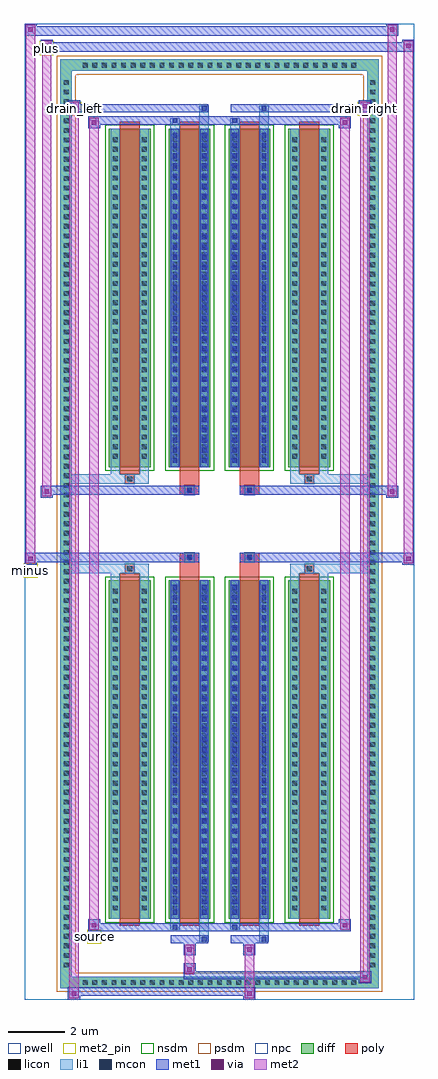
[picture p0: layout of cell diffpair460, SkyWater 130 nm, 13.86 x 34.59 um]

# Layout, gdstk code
import gdstk
lib = gdstk.Library(unit=1e-6, precision=5e-09)
def R(c, l, rs):  # rectangles x0, y0, x1, y1
    for r in rs: c.add(gdstk.rectangle(r[:2], r[2:], *l))
def A(c, l, x, y, w, h, nx, ny, dx, dy):  # array of equal rectangles
    R(c, l, [(x+i*dx, y+j*dy, x+i*dx+w, y+j*dy+h) for i in range(nx) for j in range(ny)])
def P(c, l, *ps):  # polygons
    for p in ps: c.add(gdstk.Polygon(p, *l))
pwell = (64, 44)
diff = (65, 20)
poly = (66, 20)
licon = (66, 44)
li1 = (67, 20)
mcon = (67, 44)
met1 = (68, 20)
via = (68, 44)
met2_pin = (69, 16)
met2 = (69, 20)
nsdm = (93, 44)
psdm = (94, 20)
npc = (95, 20)

diffpair460 = lib.new_cell('diffpair460')
R(diffpair460, pwell, [(-6.91,-16.86,6.91,17.73), (-4.23,-15.05,-0.01,-0.825), (0.01,-15.05,4.23,-0.825), (-4.23,0.825,-0.01,15.05), (0.01,0.825,4.23,15.05)])
A(diffpair460, diff, -4.965, -16.46, 0.41, 0.41, 29, 2, 0.34, 32.51)
A(diffpair460, diff, -5.64, -15.845, 0.41, 0.41, 1, 93, 0, 0.34)
A(diffpair460, diff, 5.23, -15.845, 0.41, 0.41, 1, 93, 0, 0.34)
A(diffpair460, diff, -3.92, -14.005, 1.48, 12, 4, 2, 2.12, 16.01)
R(diffpair460, diff, [(-4.965,-16.46,4.965,-16.05), (-5.64,-15.845,-5.23,15.845), (5.23,-15.845,5.64,15.845), (-4.965,16.05,4.965,16.46)])
P(diffpair460, diff, [(5.64,16.46),(-5.64,16.46),(-5.64,-16.05),(-5.23,-16.05),(-5.23,16.05),(5.23,16.05),(5.23,-16.05),(-5.23,-16.05),(-5.64,-16.05),(-5.64,-16.46),(5.64,-16.46)])
A(diffpair460, poly, -3.53, -14.255, 0.7, 12.5, 4, 2, 2.12, 16.01)
R(diffpair460, poly, [(-3.345,-1.755,-3.015,-1.425), (-3.345,-1.755,-3.015,-1.425), (-1.41,-1.755,-0.71,-1.355), (0.71,-1.755,1.41,-1.355), (3.015,-1.755,3.345,-1.425), (3.015,-1.755,3.345,-1.425), (-1.41,-1.355,-0.71,-1.025), (-1.225,-1.355,-0.895,-1.025), (0.71,-1.355,1.41,-1.025), (0.895,-1.355,1.225,-1.025), (-1.41,1.025,-0.71,1.355), (-1.225,1.025,-0.895,1.355), (0.71,1.025,1.41,1.355), (0.895,1.025,1.225,1.355), (-1.41,1.355,-0.71,1.755), (0.71,1.355,1.41,1.755), (-3.345,1.425,-3.015,1.755), (-3.345,1.425,-3.015,1.755), (3.015,1.425,3.345,1.755), (3.015,1.425,3.345,1.755)])
A(diffpair460, licon, -4.845, -16.34, 0.17, 0.17, 29, 2, 0.34, 32.51)
A(diffpair460, licon, -5.52, -15.725, 0.17, 0.17, 1, 93, 0, 0.34)
A(diffpair460, licon, 5.35, -15.725, 0.17, 0.17, 1, 93, 0, 0.34)
A(diffpair460, licon, -3.78, -13.7, 0.17, 0.17, 1, 34, 0, 0.34)
A(diffpair460, licon, -2.75, -13.7, 0.17, 0.17, 1, 34, 0, 0.34)
A(diffpair460, licon, -1.66, -13.7, 0.17, 0.17, 1, 34, 0, 0.34)
A(diffpair460, licon, -0.63, -13.7, 0.17, 0.17, 1, 34, 0, 0.34)
A(diffpair460, licon, 0.46, -13.7, 0.17, 0.17, 1, 34, 0, 0.34)
A(diffpair460, licon, 1.49, -13.7, 0.17, 0.17, 1, 34, 0, 0.34)
A(diffpair460, licon, 2.58, -13.7, 0.17, 0.17, 1, 34, 0, 0.34)
A(diffpair460, licon, 3.61, -13.7, 0.17, 0.17, 1, 34, 0, 0.34)
A(diffpair460, licon, -3.78, 2.31, 0.17, 0.17, 1, 34, 0, 0.34)
A(diffpair460, licon, -2.75, 2.31, 0.17, 0.17, 1, 34, 0, 0.34)
A(diffpair460, licon, -1.66, 2.31, 0.17, 0.17, 1, 34, 0, 0.34)
A(diffpair460, licon, -0.63, 2.31, 0.17, 0.17, 1, 34, 0, 0.34)
A(diffpair460, licon, 0.46, 2.31, 0.17, 0.17, 1, 34, 0, 0.34)
A(diffpair460, licon, 1.49, 2.31, 0.17, 0.17, 1, 34, 0, 0.34)
A(diffpair460, licon, 2.58, 2.31, 0.17, 0.17, 1, 34, 0, 0.34)
A(diffpair460, licon, 3.61, 2.31, 0.17, 0.17, 1, 34, 0, 0.34)
R(diffpair460, licon, [(-3.265,-1.675,-3.095,-1.505), (3.095,-1.675,3.265,-1.505), (-1.145,-1.275,-0.975,-1.105), (0.975,-1.275,1.145,-1.105), (-1.145,1.105,-0.975,1.275), (0.975,1.105,1.145,1.275), (-3.265,1.505,-3.095,1.675), (3.095,1.505,3.265,1.675)])
A(diffpair460, li1, -4.925, -16.42, 0.33, 0.33, 29, 2, 0.34, 32.51)
A(diffpair460, li1, -5.6, -15.805, 0.33, 0.33, 1, 93, 0, 0.34)
A(diffpair460, li1, 5.27, -15.805, 0.33, 0.33, 1, 93, 0, 0.34)
A(diffpair460, li1, -1.66, -13.85, 0.17, 0.17, 1, 33, 0, 0.36)
A(diffpair460, li1, -0.63, -13.85, 0.17, 0.17, 1, 33, 0, 0.36)
A(diffpair460, li1, 0.46, -13.85, 0.17, 0.17, 1, 33, 0, 0.36)
A(diffpair460, li1, 1.49, -13.85, 0.17, 0.17, 1, 33, 0, 0.36)
A(diffpair460, li1, -3.86, -13.78, 0.33, 0.33, 1, 34, 0, 0.34)
A(diffpair460, li1, -2.83, -13.78, 0.33, 0.33, 1, 34, 0, 0.34)
A(diffpair460, li1, -1.74, -13.78, 0.33, 0.33, 1, 34, 0, 0.34)
A(diffpair460, li1, -0.71, -13.78, 0.33, 0.33, 1, 34, 0, 0.34)
A(diffpair460, li1, 0.38, -13.78, 0.33, 0.33, 1, 34, 0, 0.34)
A(diffpair460, li1, 1.41, -13.78, 0.33, 0.33, 1, 34, 0, 0.34)
A(diffpair460, li1, 2.5, -13.78, 0.33, 0.33, 1, 34, 0, 0.34)
A(diffpair460, li1, 3.53, -13.78, 0.33, 0.33, 1, 34, 0, 0.34)
A(diffpair460, li1, -1.66, 2.16, 0.17, 0.17, 1, 33, 0, 0.36)
A(diffpair460, li1, -0.63, 2.16, 0.17, 0.17, 1, 33, 0, 0.36)
A(diffpair460, li1, 0.46, 2.16, 0.17, 0.17, 1, 33, 0, 0.36)
A(diffpair460, li1, 1.49, 2.16, 0.17, 0.17, 1, 33, 0, 0.36)
A(diffpair460, li1, -3.86, 2.23, 0.33, 0.33, 1, 34, 0, 0.34)
A(diffpair460, li1, -2.83, 2.23, 0.33, 0.33, 1, 34, 0, 0.34)
A(diffpair460, li1, -1.74, 2.23, 0.33, 0.33, 1, 34, 0, 0.34)
A(diffpair460, li1, -0.71, 2.23, 0.33, 0.33, 1, 34, 0, 0.34)
A(diffpair460, li1, 0.38, 2.23, 0.33, 0.33, 1, 34, 0, 0.34)
A(diffpair460, li1, 1.41, 2.23, 0.33, 0.33, 1, 34, 0, 0.34)
A(diffpair460, li1, 2.5, 2.23, 0.33, 0.33, 1, 34, 0, 0.34)
A(diffpair460, li1, 3.53, 2.23, 0.33, 0.33, 1, 34, 0, 0.34)
R(diffpair460, li1, [(-5.64,-16.46,-5.23,-16.05), (-5.64,-16.46,-5.23,-16.05), (-5.23,-16.46,5.23,-16.05), (5.23,-16.46,5.64,-16.05), (5.23,-16.46,5.64,-16.05), (-5.64,-16.05,-5.23,16.05), (5.23,-16.05,5.64,16.05), (-0.71,-14.81,-0.38,-14.005), (-0.63,-14.81,-0.46,-14.64), (1.41,-14.81,1.74,-14.005), (1.49,-14.81,1.66,-14.64), (-1.74,-14.38,-1.41,-14.005), (-1.66,-14.38,-1.49,-14.21), (0.38,-14.38,0.71,-14.005), (0.46,-14.38,0.63,-14.21), (-3.86,-14.005,-3.53,-2.005), (-2.83,-14.005,-2.5,-2.005), (-1.74,-14.005,-1.41,-2.005), (-0.71,-14.005,-0.38,-2.005), (0.38,-14.005,0.71,-2.005), (1.41,-14.005,1.74,-2.005), (2.5,-14.005,2.83,-2.005), (3.53,-14.005,3.86,-2.005), (-1.66,-13.85,-1.49,-2.16), (-0.63,-13.85,-0.46,-2.16), (0.46,-13.85,0.63,-2.16), (1.49,-13.85,1.66,-2.16), (-3.86,-2.005,-3.53,-1.425), (-2.83,-2.005,-2.5,-1.425), (2.5,-2.005,2.83,-1.425), (3.53,-2.005,3.86,-1.425), (-5.64,-1.755,-3.345,-1.425), (-3.86,-1.755,-3.345,-1.425), (-3.345,-1.755,-3.015,-1.425), (-3.015,-1.755,-2.5,-1.425), (2.5,-1.755,3.015,-1.425), (3.015,-1.755,3.345,-1.425), (3.015,-1.755,5.64,-1.425), (3.345,-1.755,3.86,-1.425), (-1.225,-1.355,-0.895,-1.025), (0.895,-1.355,1.225,-1.025), (-1.225,1.025,-0.895,1.355), (0.895,1.025,1.225,1.355), (-5.64,1.425,-3.345,1.755), (-3.86,1.425,-3.345,1.755), (-3.86,1.425,-3.53,2.005), (-3.345,1.425,-3.015,1.755), (-3.015,1.425,-2.5,1.755), (-2.83,1.425,-2.5,2.005), (2.5,1.425,3.015,1.755), (2.5,1.425,2.83,2.005), (3.015,1.425,3.345,1.755), (3.015,1.425,5.64,1.755), (3.345,1.425,3.86,1.755), (3.53,1.425,3.86,2.005), (-3.86,2.005,-3.53,14.005), (-2.83,2.005,-2.5,14.005), (-1.74,2.005,-1.41,14.005), (-0.71,2.005,-0.38,14.005), (0.38,2.005,0.71,14.005), (1.41,2.005,1.74,14.005), (2.5,2.005,2.83,14.005), (3.53,2.005,3.86,14.005), (-1.66,2.16,-1.49,13.85), (-0.63,2.16,-0.46,13.85), (0.46,2.16,0.63,13.85), (1.49,2.16,1.66,13.85), (-1.74,14.005,-1.41,14.38), (-0.71,14.005,-0.38,14.81), (0.38,14.005,0.71,14.38), (1.41,14.005,1.74,14.81), (-1.66,14.21,-1.49,14.38), (0.46,14.21,0.63,14.38), (-0.63,14.64,-0.46,14.81), (1.49,14.64,1.66,14.81), (-5.64,16.05,-5.23,16.46), (-5.64,16.05,-5.23,16.46), (-5.23,16.05,5.23,16.46), (5.23,16.05,5.64,16.46), (5.23,16.05,5.64,16.46)])
A(diffpair460, mcon, -1.66, -13.85, 0.17, 0.17, 1, 33, 0, 0.36)
A(diffpair460, mcon, -0.63, -13.85, 0.17, 0.17, 1, 33, 0, 0.36)
A(diffpair460, mcon, 0.46, -13.85, 0.17, 0.17, 1, 33, 0, 0.36)
A(diffpair460, mcon, 1.49, -13.85, 0.17, 0.17, 1, 33, 0, 0.36)
A(diffpair460, mcon, -1.66, 2.16, 0.17, 0.17, 1, 33, 0, 0.36)
A(diffpair460, mcon, -0.63, 2.16, 0.17, 0.17, 1, 33, 0, 0.36)
A(diffpair460, mcon, 0.46, 2.16, 0.17, 0.17, 1, 33, 0, 0.36)
A(diffpair460, mcon, 1.49, 2.16, 0.17, 0.17, 1, 33, 0, 0.36)
R(diffpair460, mcon, [(-0.63,-14.81,-0.46,-14.64), (1.49,-14.81,1.66,-14.64), (-1.66,-14.38,-1.49,-14.21), (0.46,-14.38,0.63,-14.21), (-1.145,-1.275,-0.975,-1.105), (0.975,-1.275,1.145,-1.105), (-1.145,1.105,-0.975,1.275), (0.975,1.105,1.145,1.275), (-1.66,14.21,-1.49,14.38), (0.46,14.21,0.63,14.38), (-0.63,14.64,-0.46,14.81), (1.49,14.64,1.66,14.81)])
A(diffpair460, met1, -1.72, -13.91, 0.29, 0.29, 1, 33, 0, 0.36)
A(diffpair460, met1, -0.69, -13.91, 0.29, 0.29, 1, 33, 0, 0.36)
A(diffpair460, met1, 0.4, -13.91, 0.29, 0.29, 1, 33, 0, 0.36)
A(diffpair460, met1, 1.43, -13.91, 0.29, 0.29, 1, 33, 0, 0.36)
A(diffpair460, met1, -1.72, 2.1, 0.29, 0.29, 1, 33, 0, 0.36)
A(diffpair460, met1, -0.69, 2.1, 0.29, 0.29, 1, 33, 0, 0.36)
A(diffpair460, met1, 0.4, 2.1, 0.29, 0.29, 1, 33, 0, 0.36)
A(diffpair460, met1, 1.43, 2.1, 0.29, 0.29, 1, 33, 0, 0.36)
R(diffpair460, met1, [(-5.37,-16.86,-4.94,-16.43), (0.845,-16.86,1.275,-16.43), (-5.37,-16.72,1.275,-16.43), (4.94,-16.29,5.37,-15.86), (-1.275,-16.15,5.37,-15.86), (-1.275,-16.01,-0.845,-15.58), (-1.275,-15.3,-0.845,-14.87), (0.845,-15.3,1.275,-14.87), (-1.72,-14.87,-0.4,-14.58), (-0.69,-14.87,-0.4,-14.58), (0.4,-14.87,1.72,-14.58), (1.43,-14.87,1.72,-14.58), (-4.66,-14.44,-4.23,-14.01), (-4.66,-14.44,-1.72,-14.15), (-1.72,-14.44,-1.43,-14.15), (-1.72,-14.44,-0.4,-14.15), (-0.4,-14.44,0.4,-14.15), (0.4,-14.44,0.69,-14.15), (0.4,-14.44,1.72,-14.15), (1.72,-14.44,4.66,-14.15), (4.23,-14.44,4.66,-14.01), (-1.72,-14.005,-1.43,-2.005), (-0.69,-14.005,-0.4,-2.005), (0.4,-14.005,0.69,-2.005), (1.43,-14.005,1.72,-2.005), (-6.91,-1.455,-6.48,-1.025), (6.48,-1.455,6.91,-1.025), (-6.91,-1.355,-0.71,-1.025), (-1.41,-1.355,-0.71,-1.025), (0.71,-1.355,1.41,-1.025), (0.71,-1.355,6.91,-1.025), (-1.205,-1.335,-0.915,-1.045), (0.915,-1.335,1.205,-1.045), (-6.34,0.925,-5.91,1.355), (5.91,0.925,6.34,1.355), (-6.34,1.025,-1.41,1.355), (-1.41,1.025,-0.71,1.355), (0.71,1.025,1.41,1.355), (1.41,1.025,6.34,1.355), (-1.205,1.045,-0.915,1.335), (0.915,1.045,1.205,1.335), (-1.72,2.005,-1.43,14.005), (-0.69,2.005,-0.4,14.005), (0.4,2.005,0.69,14.005), (1.43,2.005,1.72,14.005), (-4.66,14.01,-4.23,14.44), (4.23,14.01,4.66,14.44), (-4.66,14.15,-1.72,14.44), (-1.72,14.15,-1.43,14.44), (-1.72,14.15,-0.4,14.44), (-0.4,14.15,0.4,14.44), (0.4,14.15,0.69,14.44), (0.4,14.15,1.72,14.44), (1.72,14.15,4.66,14.44), (-5.37,14.58,-4.94,15.01), (-5.37,14.58,-1.72,14.87), (-1.72,14.58,-0.4,14.87), (-0.69,14.58,-0.4,14.87), (0.4,14.58,1.72,14.87), (1.43,14.58,1.72,14.87), (1.72,14.58,5.37,14.87), (4.94,14.58,5.37,15.01), (-6.34,16.73,-5.91,17.16), (-6.34,16.73,-4.23,17.06), (-4.23,16.73,4.23,17.06), (4.23,16.73,6.91,17.06), (6.48,16.73,6.91,17.16), (-6.91,17.3,-6.48,17.73), (-6.91,17.3,-4.23,17.63), (-4.23,17.3,4.23,17.63), (4.23,17.3,6.34,17.63), (5.91,17.3,6.34,17.73)])
R(diffpair460, via, [(-5.23,-16.72,-5.08,-16.57), (0.985,-16.72,1.135,-16.57), (5.08,-16.15,5.23,-16), (-1.135,-15.87,-0.985,-15.72), (-1.135,-15.16,-0.985,-15.01), (0.985,-15.16,1.135,-15.01), (-4.52,-14.3,-4.37,-14.15), (4.37,-14.3,4.52,-14.15), (-6.77,-1.315,-6.62,-1.165), (6.62,-1.315,6.77,-1.165), (-6.2,1.065,-6.05,1.215), (6.05,1.065,6.2,1.215), (-4.52,14.15,-4.37,14.3), (4.37,14.15,4.52,14.3), (-5.23,14.72,-5.08,14.87), (5.08,14.72,5.23,14.87), (-6.2,16.87,-6.05,17.02), (6.62,16.87,6.77,17.02), (-6.77,17.44,-6.62,17.59), (6.05,17.44,6.2,17.59)])
R(diffpair460, met2_pin, [(-4.695,-14.89,-4.195,-14.39), (-6.945,-1.905,-6.445,-1.405), (-5.405,14.46,-4.905,14.96), (4.905,14.46,5.405,14.96), (-6.375,16.61,-5.875,17.11)])
R(diffpair460, met2, [(-5.32,-16.81,-4.99,-16.48), (-5.32,-16.81,-4.99,14.96), (0.895,-16.81,1.225,-16.48), (0.895,-16.48,1.225,-15.25), (4.99,-16.24,5.32,-15.91), (4.99,-16.24,5.32,14.96), (-1.225,-15.96,-0.895,-15.63), (-1.225,-15.63,-0.895,-15.25), (-1.225,-15.25,-0.895,-14.92), (0.895,-15.25,1.225,-14.92), (-4.61,-14.39,-4.28,-14.06), (-4.61,-14.39,-4.28,14.39), (4.28,-14.39,4.61,-14.06), (4.28,-14.39,4.61,14.39), (-6.86,-1.405,-6.53,-1.075), (-6.86,-1.405,-6.53,17.68), (6.53,-1.405,6.86,-1.075), (6.53,-1.405,6.86,17.11), (-6.29,0.975,-5.96,1.305), (-6.29,0.975,-5.96,17.11), (5.96,0.975,6.29,1.305), (5.96,0.975,6.29,17.68), (-4.61,14.06,-4.28,14.39), (4.28,14.06,4.61,14.39), (-5.32,14.63,-4.99,14.96), (4.99,14.63,5.32,14.96), (-6.29,16.78,-5.96,17.11), (6.53,16.78,6.86,17.11), (-6.86,17.35,-6.53,17.68), (5.96,17.35,6.29,17.68)])
P(diffpair460, met2, [(6.86,-1.405),(6.86,-1.405),(6.86,-1.075),(6.86,-1.075)],
  [(6.86,16.78),(6.86,16.78),(6.86,17.11),(6.86,17.11)],
  [(-6.53,-1.405),(-6.53,-1.405),(-6.53,-1.075),(-6.53,-1.075)],
  [(-6.53,17.35),(-6.53,17.35),(-6.53,17.68),(-6.53,17.68)],
  [(6.29,0.975),(6.29,0.975),(6.29,1.305),(6.29,1.305)],
  [(6.29,17.35),(6.29,17.35),(6.29,17.68),(6.29,17.68)],
  [(-5.96,0.975),(-5.96,0.975),(-5.96,1.305),(-5.96,1.305)],
  [(-5.96,16.78),(-5.96,16.78),(-5.96,17.11),(-5.96,17.11)],
  [(-4.99,-16.81),(-4.99,-16.81),(-4.99,-16.48),(-4.99,-16.48)],
  [(-4.99,14.63),(-4.99,14.63),(-4.99,14.96),(-4.99,14.96)],
  [(5.32,-16.24),(5.32,-16.24),(5.32,-15.91),(5.32,-15.91)],
  [(5.32,14.63),(5.32,14.63),(5.32,14.96),(5.32,14.96)],
  [(-4.28,-14.39),(-4.28,-14.39),(-4.28,-14.06),(-4.28,-14.06)],
  [(-4.28,14.06),(-4.28,14.06),(-4.28,14.39),(-4.28,14.39)],
  [(4.61,-14.39),(4.61,-14.39),(4.61,-14.06),(4.61,-14.06)],
  [(4.61,14.06),(4.61,14.06),(4.61,14.39),(4.61,14.39)])
A(diffpair460, nsdm, -4.05, -14.135, 1.74, 12.26, 4, 2, 2.12, 16.01)
P(diffpair460, psdm, [(5.77,16.59),(-5.77,16.59),(-5.77,-15.92),(-5.1,-15.92),(-5.1,15.92),(5.1,15.92),(5.1,-15.92),(-5.1,-15.92),(-5.77,-15.92),(-5.77,-16.59),(5.77,-16.59)])
R(diffpair460, npc, [(-3.365,-1.775,-2.995,-1.405), (2.995,-1.775,3.365,-1.405), (-1.245,-1.375,-0.875,-1.005), (0.875,-1.375,1.245,-1.005), (-1.245,1.005,-0.875,1.375), (0.875,1.005,1.245,1.375), (-3.365,1.405,-2.995,1.775), (2.995,1.405,3.365,1.775)])
diffpair460.add(gdstk.Label('minus', (-6.695,-1.655), layer=69, texttype=5))
diffpair460.add(gdstk.Label('drain_right', (5.155,14.71), layer=69, texttype=5))
diffpair460.add(gdstk.Label('drain_left', (-5.155,14.71), layer=69, texttype=5))
diffpair460.add(gdstk.Label('source', (-4.445,-14.64), layer=69, texttype=5))
diffpair460.add(gdstk.Label('plus', (-6.125,16.86), layer=69, texttype=5))

lib.write_gds('diffpair460.gds')
